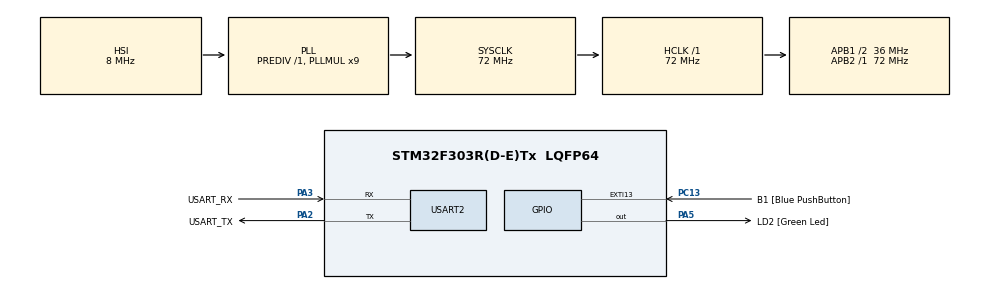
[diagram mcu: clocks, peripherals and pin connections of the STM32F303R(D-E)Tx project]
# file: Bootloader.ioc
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Mcu.Family=STM32F3
Mcu.Name=STM32F303R(D-E)Tx
Mcu.Package=LQFP64
NVIC.PriorityGroup=NVIC_PRIORITYGROUP_0
PA13.GPIO_Label=TMS
PA13.Mode=Serial_Wire
PA13.Signal=SYS_JTMS-SWDIO
PA14.GPIO_Label=TCK
PA14.Mode=Serial_Wire
PA14.Signal=SYS_JTCK-SWCLK
PA2.GPIO_Label=USART_TX
PA2.GPIO_Mode=GPIO_MODE_AF_PP
PA2.GPIO_PuPd=GPIO_NOPULL
PA2.GPIO_Speed=GPIO_SPEED_FREQ_LOW
PA2.Mode=Asynchronous
PA2.Signal=USART2_TX
PA3.GPIO_Label=USART_RX
PA3.GPIO_Mode=GPIO_MODE_AF_PP
PA3.GPIO_PuPd=GPIO_NOPULL
PA3.GPIO_Speed=GPIO_SPEED_FREQ_LOW
PA3.Mode=Asynchronous
PA3.Signal=USART2_RX
PA5.GPIO_Label=LD2 [Green Led]
PA5.GPIO_Mode=GPIO_MODE_OUTPUT_PP
PA5.GPIO_PuPd=GPIO_NOPULL
PA5.GPIO_Speed=GPIO_SPEED_FREQ_LOW
PA5.Signal=GPIO_Output
PB3.GPIO_Label=SWO
PB3.Signal=SYS_JTDO-TRACESWO
PC13.GPIO_Label=B1 [Blue PushButton]
PC13.GPIO_ModeDefaultEXTI=GPIO_MODE_IT_FALLING
PC13.Signal=GPXTI13
PC14-OSC32_IN.Mode=LSE-External-Oscillator
PC14-OSC32_IN.Signal=RCC_OSC32_IN
PC15-OSC32_OUT.Mode=LSE-External-Oscillator
PC15-OSC32_OUT.Signal=RCC_OSC32_OUT
PF0-OSC_IN.Mode=HSE-External-Clock-Source
PF0-OSC_IN.Signal=RCC_OSC_IN
PF1-OSC_OUT.Signal=RCC_OSC_OUT
ProjectManager.HeapSize=0x200
ProjectManager.StackSize=0x400
ProjectManager.TargetToolchain=STM32CubeIDE
RCC.AHBFreq_Value=72000000
RCC.APB1CLKDivider=RCC_HCLK_DIV2
RCC.APB1Freq_Value=36000000
RCC.APB1TimFreq_Value=72000000
RCC.APB2Freq_Value=72000000
RCC.APB2TimFreq_Value=72000000
RCC.CortexFreq_Value=72000000
RCC.HCLKFreq_Value=72000000
RCC.HSE_VALUE=8000000
RCC.HSI_VALUE=8000000
RCC.PLLM=8
RCC.PLLMUL=RCC_PLL_MUL9
RCC.PLLN=336
RCC.PLLP=RCC_PLLP_DIV4
RCC.PLLQ=7
RCC.RCC_PLLsource_Clock_Source_FROM_HSE=RCC_HSE_PREDIV_DIV2
RCC.SYSCLKFreq_VALUE=72000000
RCC.SYSCLKSourceVirtual=RCC_SYSCLKSOURCE_PLLCLK
RCC.USBFreq_Value=72000000
USART2.VirtualMode-Asynchronous=VM_ASYNC
board=NUCLEO-F303RE

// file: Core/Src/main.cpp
/* USER CODE BEGIN Header */
/**
  ******************************************************************************
  * @file           : main.c
  * @brief          : Main program body
  ******************************************************************************
  * @attention
  *
  * Copyright (c) 2022 STMicroelectronics.
  * All rights reserved.
  *
  * This software is licensed under terms that can be found in the LICENSE file
  * in the root directory of this software component.
  * If no LICENSE file comes with this software, it is provided AS-IS.
  *
  ******************************************************************************
  */
/* USER CODE END Header */
#include "main.h"
#include <vector>

#include "FirmwareStruct.h"
using namespace std;

/* USER CODE BEGIN Includes */
#define FIRMWARE_START_ADDRESS 0x08006000
#define ONE_BLOCK_Bytes 32
#define WORD 4
/* USER CODE END Includes */

UART_HandleTypeDef huart2;

void SystemClock_Config(void);
static void MX_GPIO_Init(void);
static void MX_USART2_UART_Init(void);
/* USER CODE BEGIN PFP */
void AppStart(void)
{
	uint32_t appJumpAddress;
	void (*GoToApp)(void);
	appJumpAddress = *((volatile uint32_t*)(FIRMWARE_START_ADDRESS + 4)); //указатель на Reset_Handler
	GoToApp = (void (*)(void))appJumpAddress;
	HAL_DeInit();
	__disable_irq();
	__set_MSP(*((volatile uint32_t*)FIRMWARE_START_ADDRESS)); // указатель на вершину стека _estack
	GoToApp();
}

extern "C" int _write(int file, char *ptr, int len) {
    HAL_UART_Transmit(&huart2, reinterpret_cast<uint8_t*>(ptr), len, HAL_MAX_DELAY);
    return len;
}

void dump(uint8_t* ptr, int size)
{
    for (int i = 0; i < size; i++)
    {
        printf("%02X ", ptr[i]);
    }
    printf("\n");
}

uint64_t conv_4byte_ptr_to_u64(uint8_t * ptr)
{
	uint64_t res = (uint64_t)(ptr[3]<<24) + (uint64_t)(ptr[2]<<16) + (uint64_t)(ptr[1]<<8) + (uint64_t)ptr[0];
	return res;
}
/* USER CODE END PFP */

/* USER CODE BEGIN 0 */
bool is_big_endian(void)
{
	union {
		uint32_t i;
		char c[4];
	} bint = { 0x01020304 };

	return bint.c[0] == 1;
}
bool clear_memory(uint32_t firmware_size)
{
	  	  HAL_FLASH_Unlock();
		  static FLASH_EraseInitTypeDef EraseInitStruct;
		  EraseInitStruct.TypeErase = FLASH_TYPEERASE_PAGES;
		  EraseInitStruct.PageAddress = FIRMWARE_START_ADDRESS;
		  EraseInitStruct.NbPages = (((firmware_size) % FLASH_PAGE_SIZE) != 0) ? ((firmware_size / FLASH_PAGE_SIZE) + 1) : (firmware_size / FLASH_PAGE_SIZE) ;
		  uint32_t PAGEError;
		  HAL_StatusTypeDef status = HAL_FLASHEx_Erase(&EraseInitStruct, &PAGEError);
	  	  //HAL_FLASH_Lock();
		  return HAL_OK == status;
}

bool get_header(FirmwareHeader *header)
{
	memset(header, 0, sizeof(FirmwareHeader));
	if(HAL_UART_Receive(&huart2, (uint8_t *)header, sizeof(FirmwareHeader), 10000)==HAL_OK)
	{
		return check_crc_header(header);
	}
	return false;
}
/* USER CODE END 0 */

int main(void)
{

  /* MCU Configuration--------------------------------------------------------*/

  /* Reset of all peripherals, Initializes the Flash interface and the Systick. */
  HAL_Init();

  /* Configure the system clock */
  SystemClock_Config();

  /* Initialize all configured peripherals */
  MX_GPIO_Init();
  MX_USART2_UART_Init();
  /* USER CODE BEGIN 2 */
  /*uint8_t app[] = "APP started";
  HAL_UART_Transmit(&huart2,app,sizeof(app),1000);*/
  //printf("Bootloader started!\n");
  FirmwareHeader header;
  FirmwareBlock block;
  int state = 0;
  uint32_t offset=0;
  /*while (true)
  {
	  switch(state){
	  	  case 0:
	  		  offset = 0;
			  if(get_header(&header)) state = 1;
			  break;
	  	  case 1:
	  		  if(clear_memory((uint32_t)header.blocksize * header.num_blocks)) state = 2;
	  		  break;
	  	  case 2:
	  		  for (int i = header.num_blocks; i >= 0; i--)
	  		  {
	  			  uint8_t *block_buff = new uint8_t [header.blocksize+sizeof(block.crc)];
	  			  block.data = block_buff;
	  			  if (HAL_OK == HAL_UART_Receive(&huart2, block.data, header.blocksize + sizeof(block.crc), 4000)){
	  				  block.crc = block.data[header.blocksize];
	  				  for (int i=0;i<header.blocksize;i++) printf("%02X ", block.data[i]);
	  				  printf("%02X\n",block.crc);
	  				  if (block.crc == gencrc(block.data, header.blocksize))
	  				  {
	  					  uint32_t local_offset = 0;

	  					  for (int j = 0; j < header.blocksize/WORD; j++)
	  					  {

	  						  HAL_FLASH_Program(FLASH_TYPEPROGRAM_WORD, (uint32_t) (FIRMWARE_START_ADDRESS + offset), conv_4byte_ptr_to_u64(block.data + local_offset));
	  						  offset += 4;
	  						  local_offset += 4;
	  					  }
	  					  printf("OK\n");
	  				  }else {
	  					  printf("block crc err got %02X calc %02X\n",block.crc, gencrc(block.data, header.blocksize));
	  					  state = 0;
	  				  	  HAL_FLASH_Lock();
	  					  break;
	  				  }

	  			  }else
	  			  {
	  				  printf("get block err\n");
	  				  state = 0;
	  			  	  HAL_FLASH_Lock();
	  				  break;
	  			  }
	  			  //dump(block.data, header.blocksize);
	  			  delete []block_buff;
	  		  }
		  	  HAL_FLASH_Lock();
		  	  state = 3;
	  		  break;
	  	  case 3:
			  printf("START THE APP\n");
			  AppStart();
	  		  break;
	  }
  }*/
  if(HAL_UART_Receive(&huart2,(uint8_t *)&header,sizeof(FirmwareHeader),10000)==HAL_OK)
  {
	  //GOT HADER FLASH MEMORY
	  //dump((uint8_t *)&header,sizeof(header));
	  if (check_crc_header(&header))
	  {
		  //printf("CRC OK\n");
		  if(clear_memory((uint32_t)header.blocksize * header.num_blocks))
		  {

			  //printf("clear mem OK\n");
			  for (int i = header.num_blocks; i >= 0; i--)
			  		{
			  			uint8_t *block_buff = new uint8_t [header.blocksize+sizeof(block.crc)];
			  			block.data = block_buff;
			  			if (HAL_OK == HAL_UART_Receive(&huart2, block.data, header.blocksize + sizeof(block.crc), 1000)){
			  				block.crc = block.data[header.blocksize];
			  				for (int i=0;i<header.blocksize;i++) printf("%02X ", block.data[i]);
			  				printf("%02X\n",block.crc);
							if (block.crc == gencrc(block.data, header.blocksize))
							{
								uint32_t local_offset = 0;

								for (int j = 0; j < header.blocksize/WORD; j++)
								{

									HAL_FLASH_Program(FLASH_TYPEPROGRAM_WORD, (uint32_t) (FIRMWARE_START_ADDRESS + offset), conv_4byte_ptr_to_u64(block.data + local_offset));
									offset += 4;
									local_offset += 4;
								}
								printf("OK\n");
							}else {
								printf("block crc err got %02X calc %02X\n",block.crc, gencrc(block.data, header.blocksize));
							}

			  			}else
			  			{
			  				printf("get block err\n");
			  			}
			  			//dump(block.data, header.blocksize);
			  			delete []block_buff;

			  		}
			  printf("START THE APP\n");
			  AppStart();
		  }else{
			  printf("clear mem not success\n");
		  }
	  }else
	  {
		  printf("wrong crc header\n");
	  }
  }else {
	  printf("No data\n");
	  AppStart();
  }

  /* USER CODE END 2 */

  /* Infinite loop */
  while (1)
  {
	  HAL_GPIO_TogglePin(LD2_GPIO_Port, LD2_Pin);
	  HAL_Delay(2000);
  }
}

void SystemClock_Config(void)
{
  RCC_OscInitTypeDef RCC_OscInitStruct = {0};
  RCC_ClkInitTypeDef RCC_ClkInitStruct = {0};
  RCC_PeriphCLKInitTypeDef PeriphClkInit = {0};

  /** Initializes the RCC Oscillators according to the specified parameters
  * in the RCC_OscInitTypeDef structure.
  */
  RCC_OscInitStruct.OscillatorType = RCC_OSCILLATORTYPE_HSI;
  RCC_OscInitStruct.HSIState = RCC_HSI_ON;
  RCC_OscInitStruct.HSICalibrationValue = RCC_HSICALIBRATION_DEFAULT;
  RCC_OscInitStruct.PLL.PLLState = RCC_PLL_ON;
  RCC_OscInitStruct.PLL.PLLSource = RCC_PLLSOURCE_HSI;
  RCC_OscInitStruct.PLL.PLLMUL = RCC_PLL_MUL9;
  RCC_OscInitStruct.PLL.PREDIV = RCC_PREDIV_DIV1;
  if (HAL_RCC_OscConfig(&RCC_OscInitStruct) != HAL_OK)
  {
    Error_Handler();
  }

  /** Initializes the CPU, AHB and APB buses clocks
  */
  RCC_ClkInitStruct.ClockType = RCC_CLOCKTYPE_HCLK|RCC_CLOCKTYPE_SYSCLK
                              |RCC_CLOCKTYPE_PCLK1|RCC_CLOCKTYPE_PCLK2;
  RCC_ClkInitStruct.SYSCLKSource = RCC_SYSCLKSOURCE_PLLCLK;
  RCC_ClkInitStruct.AHBCLKDivider = RCC_SYSCLK_DIV1;
  RCC_ClkInitStruct.APB1CLKDivider = RCC_HCLK_DIV2;
  RCC_ClkInitStruct.APB2CLKDivider = RCC_HCLK_DIV1;

  if (HAL_RCC_ClockConfig(&RCC_ClkInitStruct, FLASH_LATENCY_2) != HAL_OK)
  {
    Error_Handler();
  }
  PeriphClkInit.PeriphClockSelection = RCC_PERIPHCLK_USART2;
  PeriphClkInit.Usart2ClockSelection = RCC_USART2CLKSOURCE_PCLK1;
  if (HAL_RCCEx_PeriphCLKConfig(&PeriphClkInit) != HAL_OK)
  {
    Error_Handler();
  }
}

static void MX_USART2_UART_Init(void)
{

  huart2.Instance = USART2;
  huart2.Init.BaudRate = 921600;
  huart2.Init.WordLength = UART_WORDLENGTH_8B;
  huart2.Init.StopBits = UART_STOPBITS_1;
  huart2.Init.Parity = UART_PARITY_NONE;
  huart2.Init.Mode = UART_MODE_TX_RX;
  huart2.Init.HwFlowCtl = UART_HWCONTROL_NONE;
  huart2.Init.OverSampling = UART_OVERSAMPLING_16;
  huart2.Init.OneBitSampling = UART_ONE_BIT_SAMPLE_DISABLE;
  huart2.AdvancedInit.AdvFeatureInit = UART_ADVFEATURE_NO_INIT;
  if (HAL_UART_Init(&huart2) != HAL_OK)
  {
    Error_Handler();
  }

}

static void MX_GPIO_Init(void)
{
  GPIO_InitTypeDef GPIO_InitStruct = {0};

  /* GPIO Ports Clock Enable */
  __HAL_RCC_GPIOC_CLK_ENABLE();
  __HAL_RCC_GPIOF_CLK_ENABLE();
  __HAL_RCC_GPIOA_CLK_ENABLE();
  __HAL_RCC_GPIOB_CLK_ENABLE();

  /*Configure GPIO pin Output Level */
  HAL_GPIO_WritePin(LD2_GPIO_Port, LD2_Pin, GPIO_PIN_RESET);

  /*Configure GPIO pin : B1_Pin */
  GPIO_InitStruct.Pin = B1_Pin;
  GPIO_InitStruct.Mode = GPIO_MODE_IT_FALLING;
  GPIO_InitStruct.Pull = GPIO_NOPULL;
  HAL_GPIO_Init(B1_GPIO_Port, &GPIO_InitStruct);

  /*Configure GPIO pin : LD2_Pin */
  GPIO_InitStruct.Pin = LD2_Pin;
  GPIO_InitStruct.Mode = GPIO_MODE_OUTPUT_PP;
  GPIO_InitStruct.Pull = GPIO_NOPULL;
  GPIO_InitStruct.Speed = GPIO_SPEED_FREQ_LOW;
  HAL_GPIO_Init(LD2_GPIO_Port, &GPIO_InitStruct);

}

void Error_Handler(void)
{
  __disable_irq();
  while (1)
  {
  }
}
